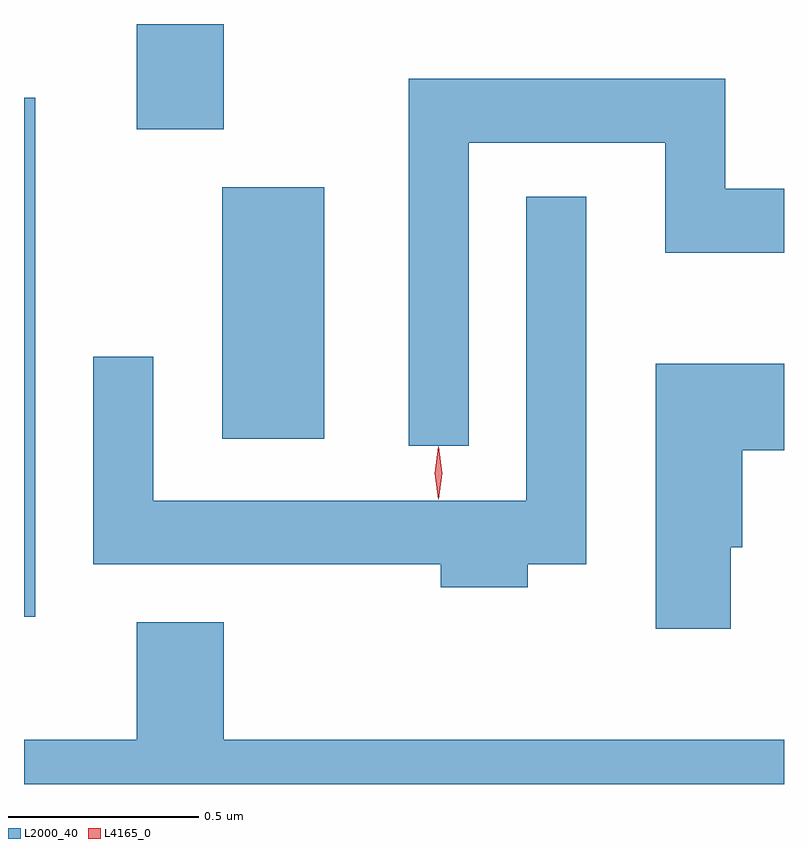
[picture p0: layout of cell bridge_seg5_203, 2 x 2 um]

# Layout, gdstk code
import gdstk
lib = gdstk.Library(unit=1e-6, precision=1e-09)
def R(c, l, rs):  # rectangles x0, y0, x1, y1
    for r in rs: c.add(gdstk.rectangle(r[:2], r[2:], *l))
def P(c, l, *ps):  # polygons
    for p in ps: c.add(gdstk.Polygon(p, *l))
L2000_40 = (2000, 40)
L4165_0 = (4165, 0)

bridge_seg5_203 = lib.new_cell('bridge_seg5_203')
R(bridge_seg5_203, L2000_40, [(1300.324,1424.088,1300.354,1425.454), (1300.846,1424.556,1301.114,1425.219), (1300.621,1425.371,1300.849,1425.648)])
P(bridge_seg5_203, L2000_40, [(1301.494,1425.336),(1302.011,1425.336),(1302.011,1425.046),(1302.324,1425.046),(1302.324,1425.214),(1302.169,1425.214),(1302.169,1425.504),(1301.336,1425.504),(1301.336,1424.538),(1301.494,1424.538)],
  [(1301.649,1424.226),(1301.804,1424.226),(1301.804,1425.193),(1301.646,1425.193),(1301.646,1424.394),(1300.664,1424.394),(1300.664,1424.773),(1300.506,1424.773),(1300.506,1424.226),(1301.421,1424.226),(1301.421,1424.166),(1301.649,1424.166)],
  [(1302.184,1424.271),(1302.214,1424.271),(1302.214,1424.526),(1302.324,1424.526),(1302.324,1424.754),(1301.986,1424.754),(1301.986,1424.056),(1302.184,1424.056)],
  [(1302.324,1423.764),(1300.849,1423.764),(1300.849,1424.074),(1300.621,1424.074),(1300.621,1423.764),(1300.324,1423.764),(1300.324,1423.648),(1302.324,1423.648)])
P(bridge_seg5_203, L4165_0, [(1301.415,1424.399),(1301.414,1424.4),(1301.405,1424.466),(1301.414,1424.532),(1301.415,1424.533),(1301.415,1424.532),(1301.425,1424.466),(1301.415,1424.4)],
  [(1301.414,1424.397),(1301.405,1424.466),(1301.414,1424.536),(1301.415,1424.536),(1301.416,1424.536),(1301.425,1424.466),(1301.416,1424.397),(1301.415,1424.397)])

lib.write_gds('bridge_seg5_203.gds')
